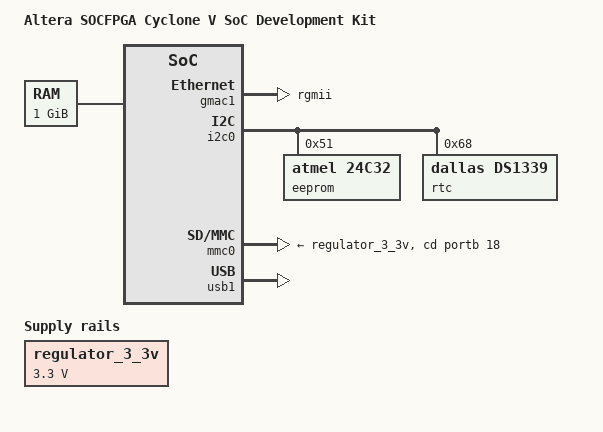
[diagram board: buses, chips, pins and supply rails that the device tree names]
/*
 *  Copyright (C) 2012 Altera Corporation <www.altera.com>
 *
 * SPDX-License-Identifier:	GPL-2.0+
 */

#include "socfpga_cyclone5.dtsi"

/ {
	model = "Altera SOCFPGA Cyclone V SoC Development Kit";
	compatible = "altr,socfpga-cyclone5", "altr,socfpga";

	chosen {
		bootargs = "console=ttyS0,115200";
	};

	memory {
		name = "memory";
		device_type = "memory";
		reg = <0x0 0x40000000>; /* 1GB */
	};

	aliases {
		/* this allow the ethaddr uboot environmnet variable contents
		 * to be added to the gmac1 device tree blob.
		 */
		ethernet0 = &gmac1;
	};

	regulator_3_3v: 3-3-v-regulator {
		compatible = "regulator-fixed";
		regulator-name = "3.3V";
		regulator-min-microvolt = <3300000>;
		regulator-max-microvolt = <3300000>;
	};
};

&gmac1 {
	status = "okay";
	phy-mode = "rgmii";

	rxd0-skew-ps = <0>;
	rxd1-skew-ps = <0>;
	rxd2-skew-ps = <0>;
	rxd3-skew-ps = <0>;
	txen-skew-ps = <0>;
	txc-skew-ps = <2600>;
	rxdv-skew-ps = <0>;
	rxc-skew-ps = <2000>;
};

&gpio1 {
	status = "okay";
};

&i2c0 {
	status = "okay";

	eeprom@51 {
		compatible = "atmel,24c32";
		reg = <0x51>;
		pagesize = <32>;
	};

	rtc@68 {
		compatible = "dallas,ds1339";
		reg = <0x68>;
	};
};

&mmc0 {
	cd-gpios = <&portb 18 0>;
	vmmc-supply = <&regulator_3_3v>;
	vqmmc-supply = <&regulator_3_3v>;
};

&usb1 {
	status = "okay";
};
